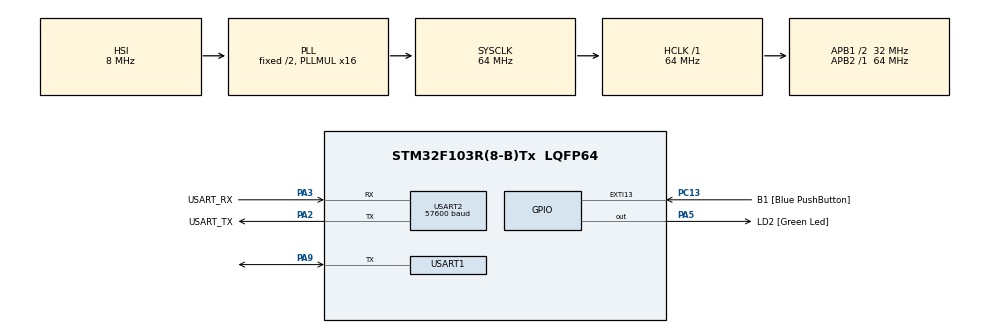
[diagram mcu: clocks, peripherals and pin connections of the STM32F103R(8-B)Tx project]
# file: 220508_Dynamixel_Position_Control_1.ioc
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Mcu.Family=STM32F1
Mcu.Name=STM32F103R(8-B)Tx
Mcu.Package=LQFP64
NVIC.EXTI15_10_IRQn=true\:0\:0\:false\:false\:true\:true\:true\:true
NVIC.PriorityGroup=NVIC_PRIORITYGROUP_4
PA13.GPIO_Label=TMS
PA13.Mode=Serial_Wire
PA13.Signal=SYS_JTMS-SWDIO
PA14.GPIO_Label=TCK
PA14.Mode=Serial_Wire
PA14.Signal=SYS_JTCK-SWCLK
PA2.GPIO_Label=USART_TX
PA2.GPIO_Mode=GPIO_MODE_AF_PP
PA2.GPIO_PuPd=GPIO_NOPULL
PA2.GPIO_Speed=GPIO_SPEED_FREQ_LOW
PA2.Mode=Asynchronous
PA2.Signal=USART2_TX
PA3.GPIO_Label=USART_RX
PA3.GPIO_Mode=GPIO_MODE_AF_PP
PA3.GPIO_PuPd=GPIO_NOPULL
PA3.GPIO_Speed=GPIO_SPEED_FREQ_LOW
PA3.Mode=Asynchronous
PA3.Signal=USART2_RX
PA5.GPIO_Label=LD2 [Green Led]
PA5.GPIO_ModeDefaultOutputPP=GPIO_MODE_OUTPUT_PP
PA5.GPIO_PuPd=GPIO_NOPULL
PA5.GPIO_Speed=GPIO_SPEED_FREQ_LOW
PA5.Signal=GPIO_Output
PA9.Mode=Half_duplex(single_wire_mode)
PA9.Signal=USART1_TX
PB3.GPIO_Label=SWO
PB3.Signal=SYS_JTDO-TRACESWO
PC13-TAMPER-RTC.GPIO_Label=B1 [Blue PushButton]
PC13-TAMPER-RTC.GPIO_PuPd=GPIO_NOPULL
PC13-TAMPER-RTC.Signal=GPXTI13
PC14-OSC32_IN.Mode=LSE-External-Oscillator
PC14-OSC32_IN.Signal=RCC_OSC32_IN
PC15-OSC32_OUT.Mode=LSE-External-Oscillator
PC15-OSC32_OUT.Signal=RCC_OSC32_OUT
PD0-OSC_IN.Mode=HSE-External-Clock-Source
PD0-OSC_IN.Signal=RCC_OSC_IN
PD1-OSC_OUT.Mode=HSE-External-Clock-Source
PD1-OSC_OUT.Signal=RCC_OSC_OUT
ProjectManager.HeapSize=0x200
ProjectManager.StackSize=0x400
ProjectManager.TargetToolchain=STM32CubeIDE
RCC.AHBFreq_Value=64000000
RCC.APB1CLKDivider=RCC_HCLK_DIV2
RCC.APB1Freq_Value=32000000
RCC.APB1TimFreq_Value=64000000
RCC.APB2Freq_Value=64000000
RCC.APB2TimFreq_Value=64000000
RCC.HCLKFreq_Value=64000000
RCC.PLLMUL=RCC_PLL_MUL16
RCC.RTCClockSelection=RCC_RTCCLKSOURCE_LSE
RCC.SYSCLKFreq_VALUE=64000000
RCC.SYSCLKSource=RCC_SYSCLKSOURCE_PLLCLK
RCC.USBFreq_Value=64000000
USART1.BaudRate=57600
USART1.VirtualMode=VM_ASYNC
USART2.BaudRate=57600
USART2.VirtualMode=VM_ASYNC
board=NUCLEO-F103RB

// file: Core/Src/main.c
/* USER CODE BEGIN Header */
/**
  ******************************************************************************
  * @file           : main.c
  * @brief          : Main program body
  ******************************************************************************
  * @attention
  *
  * Copyright (c) 2022 STMicroelectronics.
  * All rights reserved.
  *
  * This software is licensed under terms that can be found in the LICENSE file
  * in the root directory of this software component.
  * If no LICENSE file comes with this software, it is provided AS-IS.
  *
  ******************************************************************************
  */
/* USER CODE END Header */
#include "main.h"

UART_HandleTypeDef huart1;
UART_HandleTypeDef huart2;

void SystemClock_Config(void);
static void MX_GPIO_Init(void);
static void MX_USART2_UART_Init(void);
static void MX_USART1_UART_Init(void);

/* USER CODE BEGIN 0 */

#ifdef __GNUC__
/* With GCC, small printf (option LD Linker->Libraries->Small printf
   set to 'Yes') calls __io_putchar() */
#define PUTCHAR_PROTOTYPE int __io_putchar(int ch)
#else
#define PUTCHAR_PROTOTYPE int fputc(int ch, FILE *f)
#endif /* __GNUC__ */

PUTCHAR_PROTOTYPE
{
  /* Place your implementation of fputc here */
  /* e.g. write a character to the USART1 and Loop until the end of transmission */
  HAL_UART_Transmit(&huart2,(uint8_t *)&ch, 1, 0xFFFF);

  return ch;
}

unsigned short update_crc(unsigned short crc_accum, unsigned char *data_blk_ptr, unsigned short data_blk_size)
{
    unsigned short i, j;
    unsigned short crc_table[256] = {
        0x0000, 0x8005, 0x800F, 0x000A, 0x801B, 0x001E, 0x0014, 0x8011,
        0x8033, 0x0036, 0x003C, 0x8039, 0x0028, 0x802D, 0x8027, 0x0022,
        0x8063, 0x0066, 0x006C, 0x8069, 0x0078, 0x807D, 0x8077, 0x0072,
        0x0050, 0x8055, 0x805F, 0x005A, 0x804B, 0x004E, 0x0044, 0x8041,
        0x80C3, 0x00C6, 0x00CC, 0x80C9, 0x00D8, 0x80DD, 0x80D7, 0x00D2,
        0x00F0, 0x80F5, 0x80FF, 0x00FA, 0x80EB, 0x00EE, 0x00E4, 0x80E1,
        0x00A0, 0x80A5, 0x80AF, 0x00AA, 0x80BB, 0x00BE, 0x00B4, 0x80B1,
        0x8093, 0x0096, 0x009C, 0x8099, 0x0088, 0x808D, 0x8087, 0x0082,
        0x8183, 0x0186, 0x018C, 0x8189, 0x0198, 0x819D, 0x8197, 0x0192,
        0x01B0, 0x81B5, 0x81BF, 0x01BA, 0x81AB, 0x01AE, 0x01A4, 0x81A1,
        0x01E0, 0x81E5, 0x81EF, 0x01EA, 0x81FB, 0x01FE, 0x01F4, 0x81F1,
        0x81D3, 0x01D6, 0x01DC, 0x81D9, 0x01C8, 0x81CD, 0x81C7, 0x01C2,
        0x0140, 0x8145, 0x814F, 0x014A, 0x815B, 0x015E, 0x0154, 0x8151,
        0x8173, 0x0176, 0x017C, 0x8179, 0x0168, 0x816D, 0x8167, 0x0162,
        0x8123, 0x0126, 0x012C, 0x8129, 0x0138, 0x813D, 0x8137, 0x0132,
        0x0110, 0x8115, 0x811F, 0x011A, 0x810B, 0x010E, 0x0104, 0x8101,
        0x8303, 0x0306, 0x030C, 0x8309, 0x0318, 0x831D, 0x8317, 0x0312,
        0x0330, 0x8335, 0x833F, 0x033A, 0x832B, 0x032E, 0x0324, 0x8321,
        0x0360, 0x8365, 0x836F, 0x036A, 0x837B, 0x037E, 0x0374, 0x8371,
        0x8353, 0x0356, 0x035C, 0x8359, 0x0348, 0x834D, 0x8347, 0x0342,
        0x03C0, 0x83C5, 0x83CF, 0x03CA, 0x83DB, 0x03DE, 0x03D4, 0x83D1,
        0x83F3, 0x03F6, 0x03FC, 0x83F9, 0x03E8, 0x83ED, 0x83E7, 0x03E2,
        0x83A3, 0x03A6, 0x03AC, 0x83A9, 0x03B8, 0x83BD, 0x83B7, 0x03B2,
        0x0390, 0x8395, 0x839F, 0x039A, 0x838B, 0x038E, 0x0384, 0x8381,
        0x0280, 0x8285, 0x828F, 0x028A, 0x829B, 0x029E, 0x0294, 0x8291,
        0x82B3, 0x02B6, 0x02BC, 0x82B9, 0x02A8, 0x82AD, 0x82A7, 0x02A2,
        0x82E3, 0x02E6, 0x02EC, 0x82E9, 0x02F8, 0x82FD, 0x82F7, 0x02F2,
        0x02D0, 0x82D5, 0x82DF, 0x02DA, 0x82CB, 0x02CE, 0x02C4, 0x82C1,
        0x8243, 0x0246, 0x024C, 0x8249, 0x0258, 0x825D, 0x8257, 0x0252,
        0x0270, 0x8275, 0x827F, 0x027A, 0x826B, 0x026E, 0x0264, 0x8261,
        0x0220, 0x8225, 0x822F, 0x022A, 0x823B, 0x023E, 0x0234, 0x8231,
        0x8213, 0x0216, 0x021C, 0x8219, 0x0208, 0x820D, 0x8207, 0x0202
    };

    for(j = 0; j < data_blk_size; j++)
    {
        i = ((unsigned short)(crc_accum >> 8) ^ data_blk_ptr[j]) & 0xFF;
        crc_accum = (crc_accum << 8) ^ crc_table[i];
    }

    return crc_accum;
}
uint8_t rx_data[16]={0};

// Operation_mode_select
// 0x01 : Velocity   0x03 : position
void Operation_Mode(uint16_t mode){

	unsigned char Select_mode[]  = {0xFF,0xFF,0xFD,0x00,0x01,0x06,0x00,0x03,0x0B,0x00,mode,0x00,0x00}; // Operating speed mode length : 13
	uint16_t CRC_total = update_crc(0x0, Select_mode , 11);
	uint8_t CRC_H = (CRC_total>>8) & 0x00FF;
	uint8_t CRC_L = (CRC_total & 0x00FF);
	Select_mode[11] = CRC_L;
	Select_mode[12] = CRC_H;

	HAL_UART_Transmit(&huart1, Select_mode, sizeof(Select_mode)/sizeof(unsigned char), 0xFF);
	HAL_UART_Receive(&huart1, rx_data, 16, 10);
	for(int idx = 0; idx <16 ; idx ++)
		   printf("0x%x ",rx_data[idx]);
	  printf("\r\n");
}

// Torque On & Off select
// On : 0x01    Off : 0x00
void Torque_OnOff(uint16_t mode){

	unsigned char Select_mode[]  = {0xFF,0xFF,0xFD,0x00,0x01,0x06,0x00,0x03,0x40,0x00,mode,0x00,0x00}; // Torque on length : 13
	uint16_t CRC_total = update_crc(0x0, Select_mode , 11);
	uint8_t CRC_H = (CRC_total>>8) & 0x00FF;
	uint8_t CRC_L = (CRC_total & 0x00FF);
	Select_mode[11] = CRC_L;
	Select_mode[12] = CRC_H;

	HAL_UART_Transmit(&huart1, Select_mode, sizeof(Select_mode)/sizeof(unsigned char), 0xFF);
	HAL_UART_Receive(&huart1, rx_data, 16, 10);
	for(int idx = 0; idx <16 ; idx ++)
		   printf("0x%x ",rx_data[idx]);
	  printf("\r\n");
}

void Set_GoalPosition(uint16_t pos1,uint16_t pos2,uint16_t pos3,uint16_t pos4){

	unsigned char Set_Pos[]  = {0xFF,0xFF,0xFD,0x00,0x01,0x09,0x00,0x03,0x74,0x00,pos1,pos2,pos3,pos4,0x00,0x00}; // Goal Position length : 16
	uint16_t CRC_total = update_crc(0x0, Set_Pos , 14);
	uint8_t CRC_H = (CRC_total>>8) & 0x00FF;
	uint8_t CRC_L = (CRC_total & 0x00FF);
	Set_Pos[14] = CRC_L;
	Set_Pos[15] = CRC_H;

	HAL_UART_Transmit(&huart1, Set_Pos, sizeof(Set_Pos)/sizeof(unsigned char), 0xFF);
	HAL_UART_Receive(&huart1, rx_data, 16, 10);
	for(int idx = 0; idx <16 ; idx ++)
		   printf("0x%x ",rx_data[idx]);
	  printf("\r\n");
}

void Read_Register(uint16_t reg_L,uint16_t reg_H,uint16_t size){
	unsigned char Read_Reg[]={0xFF,0xFF,0xFD,0x00,0x01,0x07,0x00,0x02,reg_L,reg_H,size,0x00,0x00,0x00};
	uint16_t CRC_total = update_crc(0x0, Read_Reg , 12);
	uint8_t  CRC_H = (CRC_total>>8) & 0x00FF;
	uint8_t  CRC_L = (CRC_total & 0x00FF);
	Read_Reg[12] = CRC_L;
	Read_Reg[13] = CRC_H;

	HAL_UART_Transmit(&huart1, Read_Reg, sizeof(Read_Reg)/sizeof(unsigned char), 0xFF);
	HAL_UART_Receive(&huart1, rx_data, 16, 10);
	for(int idx = 0; idx <16 ; idx ++)
		   printf("0x%x ",rx_data[idx]);
	  printf("\r\n");
}

/* USER CODE END 0 */

int main(void)
{

  /* MCU Configuration--------------------------------------------------------*/

  /* Reset of all peripherals, Initializes the Flash interface and the Systick. */
  HAL_Init();

  /* Configure the system clock */
  SystemClock_Config();

  /* Initialize all configured peripherals */
  MX_GPIO_Init();
  MX_USART2_UART_Init();
  MX_USART1_UART_Init();
  /* USER CODE BEGIN 2 */

/*
  unsigned char TxPacket_Oper_Speedmode[]= 		{0xFF,0xFF,0xFD,0x00,0x01,0x06,0x00,0x03,0x0B,0x00,0x01,0x00,0x00}; // Operating speed mode length : 13
  unsigned char TxPacket_Oper_Positionmode[]= 		{0xFF,0xFF,0xFD,0x00,0x01,0x06,0x00,0x03,0x0B,0x00,0x03,0x00,0x00}; // Operating position mode length : 13

  unsigned char TxPacket_Torque_On[]= 	   		{0xFF,0xFF,0xFD,0x00,0x01,0x06,0x00,0x03,0x40,0x00,0x01,0x00,0x00}; // Torque on length : 13
  unsigned char TxPacket_Torque_Off[]= 	   		{0xFF,0xFF,0xFD,0x00,0x01,0x06,0x00,0x03,0x40,0x00,0x00,0x00,0x00}; // Torque off length : 13

  unsigned char TxPacket_Goal_Velocity[]= 	 	{0xFF,0xFF,0xFD,0x00,0x01,0x09,0x00,0x03,0x68,0x00,0x32,0x00,0x00,0x00,0x00,0x00}; // Goal Velocity length : 16
  unsigned char TxPacket_Goal_Position[]= 	 	{0xFF,0xFF,0xFD,0x00,0x01,0x09,0x00,0x03,0x74,0x00,0x00,0x02,0x00,0x00,0x00,0x00}; // Goal Position length : 16

  unsigned char TxPacket_Change_Direction_Reverse[]= 	{0xFF,0xFF,0xFD,0x00,0x01,0x06,0x00,0x03,0x0A,0x00,0x01,0x00,0x00}; // Change Direction_Reverse length : 13
  unsigned char TxPacket_Change_Direction_Normal[]= 	{0xFF,0xFF,0xFD,0x00,0x01,0x06,0x00,0x03,0x0A,0x00,0x00,0x00,0x00}; // Change Direction_Normal length : 13

 // unsigned char TxPacket_Read_Register[]= 	{0xFF,0xFF,0xFD,0x00,0x01,0x07,0x00,0x02,0x46,0x00,0x01,0x00,0x00,0x00}; // Change Direction_Normal length : 13
  unsigned char TxPacket_Read_Register[]= 	{0xFF,0xFF,0xFD,0x00,0x01,0x07,0x00,0x02,0x84,0x00,0x04,0x00,0x00,0x00}; // Change Direction_Normal length : 13
*/

  Torque_OnOff(0x00);
  Operation_Mode(0x03);
  Torque_OnOff(0x01);
  Set_GoalPosition(0x00,0x02,0x00,0x00);
  Read_Register(0x84,0x00,0x04);

  /* USER CODE END 2 */

  /* Infinite loop */
  while (1)
  {

  }
}

void SystemClock_Config(void)
{
  RCC_OscInitTypeDef RCC_OscInitStruct = {0};
  RCC_ClkInitTypeDef RCC_ClkInitStruct = {0};

  /** Initializes the RCC Oscillators according to the specified parameters
  * in the RCC_OscInitTypeDef structure.
  */
  RCC_OscInitStruct.OscillatorType = RCC_OSCILLATORTYPE_HSI;
  RCC_OscInitStruct.HSIState = RCC_HSI_ON;
  RCC_OscInitStruct.HSICalibrationValue = RCC_HSICALIBRATION_DEFAULT;
  RCC_OscInitStruct.PLL.PLLState = RCC_PLL_ON;
  RCC_OscInitStruct.PLL.PLLSource = RCC_PLLSOURCE_HSI_DIV2;
  RCC_OscInitStruct.PLL.PLLMUL = RCC_PLL_MUL16;
  if (HAL_RCC_OscConfig(&RCC_OscInitStruct) != HAL_OK)
  {
    Error_Handler();
  }

  /** Initializes the CPU, AHB and APB buses clocks
  */
  RCC_ClkInitStruct.ClockType = RCC_CLOCKTYPE_HCLK|RCC_CLOCKTYPE_SYSCLK
                              |RCC_CLOCKTYPE_PCLK1|RCC_CLOCKTYPE_PCLK2;
  RCC_ClkInitStruct.SYSCLKSource = RCC_SYSCLKSOURCE_PLLCLK;
  RCC_ClkInitStruct.AHBCLKDivider = RCC_SYSCLK_DIV1;
  RCC_ClkInitStruct.APB1CLKDivider = RCC_HCLK_DIV2;
  RCC_ClkInitStruct.APB2CLKDivider = RCC_HCLK_DIV1;

  if (HAL_RCC_ClockConfig(&RCC_ClkInitStruct, FLASH_LATENCY_2) != HAL_OK)
  {
    Error_Handler();
  }
}

static void MX_USART1_UART_Init(void)
{

  huart1.Instance = USART1;
  huart1.Init.BaudRate = 57600;
  huart1.Init.WordLength = UART_WORDLENGTH_8B;
  huart1.Init.StopBits = UART_STOPBITS_1;
  huart1.Init.Parity = UART_PARITY_NONE;
  huart1.Init.Mode = UART_MODE_TX_RX;
  huart1.Init.HwFlowCtl = UART_HWCONTROL_NONE;
  huart1.Init.OverSampling = UART_OVERSAMPLING_16;
  if (HAL_HalfDuplex_Init(&huart1) != HAL_OK)
  {
    Error_Handler();
  }

}

static void MX_USART2_UART_Init(void)
{

  huart2.Instance = USART2;
  huart2.Init.BaudRate = 57600;
  huart2.Init.WordLength = UART_WORDLENGTH_8B;
  huart2.Init.StopBits = UART_STOPBITS_1;
  huart2.Init.Parity = UART_PARITY_NONE;
  huart2.Init.Mode = UART_MODE_TX_RX;
  huart2.Init.HwFlowCtl = UART_HWCONTROL_NONE;
  huart2.Init.OverSampling = UART_OVERSAMPLING_16;
  if (HAL_UART_Init(&huart2) != HAL_OK)
  {
    Error_Handler();
  }

}

static void MX_GPIO_Init(void)
{
  GPIO_InitTypeDef GPIO_InitStruct = {0};

  /* GPIO Ports Clock Enable */
  __HAL_RCC_GPIOC_CLK_ENABLE();
  __HAL_RCC_GPIOD_CLK_ENABLE();
  __HAL_RCC_GPIOA_CLK_ENABLE();
  __HAL_RCC_GPIOB_CLK_ENABLE();

  /*Configure GPIO pin Output Level */
  HAL_GPIO_WritePin(LD2_GPIO_Port, LD2_Pin, GPIO_PIN_RESET);

  /*Configure GPIO pin : B1_Pin */
  GPIO_InitStruct.Pin = B1_Pin;
  GPIO_InitStruct.Mode = GPIO_MODE_IT_RISING;
  GPIO_InitStruct.Pull = GPIO_NOPULL;
  HAL_GPIO_Init(B1_GPIO_Port, &GPIO_InitStruct);

  /*Configure GPIO pin : LD2_Pin */
  GPIO_InitStruct.Pin = LD2_Pin;
  GPIO_InitStruct.Mode = GPIO_MODE_OUTPUT_PP;
  GPIO_InitStruct.Pull = GPIO_NOPULL;
  GPIO_InitStruct.Speed = GPIO_SPEED_FREQ_LOW;
  HAL_GPIO_Init(LD2_GPIO_Port, &GPIO_InitStruct);

  /* EXTI interrupt init*/
  HAL_NVIC_SetPriority(EXTI15_10_IRQn, 0, 0);
  HAL_NVIC_EnableIRQ(EXTI15_10_IRQn);

}

void Error_Handler(void)
{
  __disable_irq();
  while (1)
  {
  }
}
